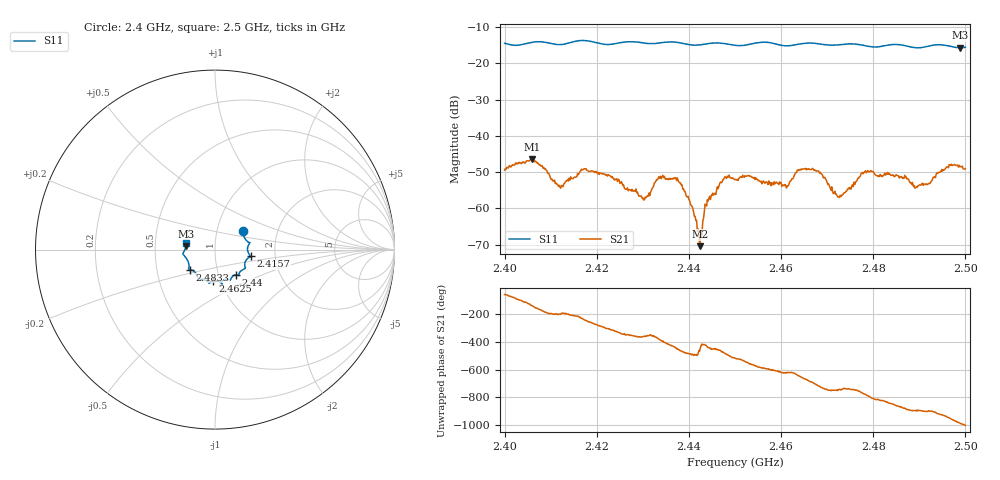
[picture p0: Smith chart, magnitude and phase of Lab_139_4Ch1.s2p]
# Hz S RI R 50
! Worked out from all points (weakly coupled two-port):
!   601 points, 2.4 GHz to 2.5 GHz, reference 50 ohm
!   highest |S21| = -46.52 dB at 2.406 GHz (marker M1); lowest = -70.4 dB at 2.4423 GHz (marker M2)
!   lowest |S11| = -15.7 dB at 2.4988 GHz (marker M3), VSWR 1.39, Z = 36 + j1.37 ohm
!   |S11| at or under -10 dB: start of sweep to end of sweep
!   S12 and S22 are empty: the file has one direction only
!   S11 on the Smith chart (normalised r, x): 2.4 GHz: 1.33, +0.29; 2.4157 GHz: 1.49, -0.12; 2.44 GHz: 1.20, -0.35; 2.4625 GHz: 0.92, -0.34; 2.4833 GHz: 0.74, -0.17; 2.5 GHz: 0.72, +0.06
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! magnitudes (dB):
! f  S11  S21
! 2.4 GHz  -14.5  -49.5
! 2.406 GHz  -14.2  -46.5
! 2.4122 GHz  -14.8  -54.5
! 2.4157 GHz  -13.9  -51.2
! 2.4167 GHz  -13.7  -49.2
! 2.4303 GHz  -14.4  -57.6
! 2.4333 GHz  -14.4  -51.7
! 2.4372 GHz  -14.2  -51.6
! 2.44 GHz  -14.8  -57.6
! 2.4423 GHz  -14.9  -70.4
! 2.444 GHz  -14.6  -57.6
! 2.4478 GHz  -14.6  -51.2
! 2.45 GHz  -15.0  -52.1
! 2.461 GHz  -15.2  -53.7
! 2.4625 GHz  -15.0  -51.8
! 2.4667 GHz  -14.4  -49.2
! 2.4727 GHz  -14.9  -57.0
! 2.4778 GHz  -15.0  -50.4
! 2.4833 GHz  -15.0  -50.6
! 2.4895 GHz  -15.7  -54.2
! 2.4988 GHz  -15.7  -48.6
! 2.5 GHz  -15.6  -49.1
